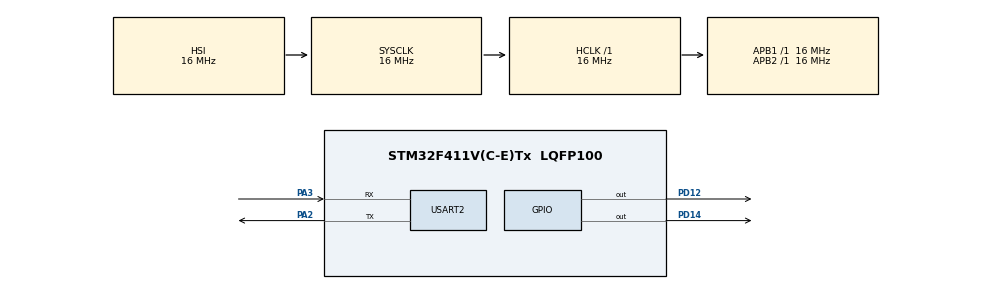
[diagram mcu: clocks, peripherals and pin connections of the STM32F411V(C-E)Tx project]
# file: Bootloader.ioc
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Mcu.Family=STM32F4
Mcu.Name=STM32F411V(C-E)Tx
Mcu.Package=LQFP100
NVIC.PriorityGroup=NVIC_PRIORITYGROUP_4
PA2.Mode=Asynchronous
PA2.Signal=USART2_TX
PA3.Mode=Asynchronous
PA3.Signal=USART2_RX
PD12.Signal=GPIO_Output
PD14.Signal=GPIO_Output
ProjectManager.HeapSize=0x200
ProjectManager.StackSize=0x400
ProjectManager.TargetToolchain=STM32CubeIDE
RCC.AHBFreq_Value=16000000
RCC.APB1Freq_Value=16000000
RCC.APB2Freq_Value=16000000
RCC.CortexFreq_Value=16000000
RCC.HSE_VALUE=25000000
RCC.HSI_VALUE=16000000
RCC.LSE_VALUE=32768
RCC.SYSCLKFreq_VALUE=16000000
RCC.VCOOutputFreq_Value=192000000
USART2.VirtualMode=VM_ASYNC
board=custom

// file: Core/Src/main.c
/* USER CODE BEGIN Header */
/**
  ******************************************************************************
  * @file           : main.c
  * @brief          : Main program body
  ******************************************************************************
  * @attention
  *
  * Copyright (c) 2024 STMicroelectronics.
  * All rights reserved.
  *
  * This software is licensed under terms that can be found in the LICENSE file
  * in the root directory of this software component.
  * If no LICENSE file comes with this software, it is provided AS-IS.
  *
  ******************************************************************************
  */
/* USER CODE END Header */
#include "main.h"

/* USER CODE BEGIN Includes */
#include "stdio.h"
#include <string.h>
#include <stdbool.h>
/* USER CODE END Includes */

/* USER CODE BEGIN PD */
#define Major					0				// Major version Number
#define Minor					2				// Minor version Number

#define MAX_BLOCK_SIZE          (1024)			//1KB
#define ETX_APP_START_ADDRESS   0x08020000
/* USER CODE END PD */

UART_HandleTypeDef huart2;

/* USER CODE BEGIN PV */
const uint8_t BL_Version[2] = {Major, Minor};

uint16_t application_size = 0;
uint16_t application_write_idx = 0;
/* USER CODE END PV */

void SystemClock_Config(void);
static void MX_GPIO_Init(void);
static void MX_USART2_UART_Init(void);
/* USER CODE BEGIN PFP */
static int UART_Write_Loop(void);
static HAL_StatusTypeDef write_data_to_flash_app(uint8_t *data, uint16_t data_len, bool is_first_block);
static void Firmware_Update(void);
static void goto_application(void);
/* USER CODE END PFP */

/* USER CODE BEGIN 0 */
int _write(int file, char *ptr, int len)
{
	int i = 0;
	for(i = 0; i < len; i++)
	{
		ITM_SendChar(*ptr++);

	}
	return len;
}
/* USER CODE END 0 */

int main(void)
{

  /* MCU Configuration--------------------------------------------------------*/

  /* Reset of all peripherals, Initializes the Flash interface and the Systick. */
  HAL_Init();

  /* Configure the system clock */
  SystemClock_Config();

  /* Initialize all configured peripherals */
  MX_GPIO_Init();
  MX_USART2_UART_Init();
  /* USER CODE BEGIN 2 */
  printf("Bootloader v%d:%d Started!!!\n", BL_Version[0], BL_Version[1]);
  HAL_GPIO_WritePin(GPIOD, GPIO_PIN_12, GPIO_PIN_SET);
  HAL_Delay(2000);

  Firmware_Update();

  // Jump to application
  goto_application();
  /* USER CODE END 2 */

  /* Infinite loop */
  while (1)
  {

  }
}

void SystemClock_Config(void)
{
  RCC_OscInitTypeDef RCC_OscInitStruct = {0};
  RCC_ClkInitTypeDef RCC_ClkInitStruct = {0};

  /** Configure the main internal regulator output voltage
  */
  __HAL_RCC_PWR_CLK_ENABLE();
  __HAL_PWR_VOLTAGESCALING_CONFIG(PWR_REGULATOR_VOLTAGE_SCALE1);

  /** Initializes the RCC Oscillators according to the specified parameters
  * in the RCC_OscInitTypeDef structure.
  */
  RCC_OscInitStruct.OscillatorType = RCC_OSCILLATORTYPE_HSI;
  RCC_OscInitStruct.HSIState = RCC_HSI_ON;
  RCC_OscInitStruct.HSICalibrationValue = RCC_HSICALIBRATION_DEFAULT;
  RCC_OscInitStruct.PLL.PLLState = RCC_PLL_NONE;
  if (HAL_RCC_OscConfig(&RCC_OscInitStruct) != HAL_OK)
  {
    Error_Handler();
  }

  /** Initializes the CPU, AHB and APB buses clocks
  */
  RCC_ClkInitStruct.ClockType = RCC_CLOCKTYPE_HCLK|RCC_CLOCKTYPE_SYSCLK
                              |RCC_CLOCKTYPE_PCLK1|RCC_CLOCKTYPE_PCLK2;
  RCC_ClkInitStruct.SYSCLKSource = RCC_SYSCLKSOURCE_HSI;
  RCC_ClkInitStruct.AHBCLKDivider = RCC_SYSCLK_DIV1;
  RCC_ClkInitStruct.APB1CLKDivider = RCC_HCLK_DIV1;
  RCC_ClkInitStruct.APB2CLKDivider = RCC_HCLK_DIV1;

  if (HAL_RCC_ClockConfig(&RCC_ClkInitStruct, FLASH_LATENCY_0) != HAL_OK)
  {
    Error_Handler();
  }
}

static void MX_USART2_UART_Init(void)
{

  huart2.Instance = USART2;
  huart2.Init.BaudRate = 115200;
  huart2.Init.WordLength = UART_WORDLENGTH_8B;
  huart2.Init.StopBits = UART_STOPBITS_1;
  huart2.Init.Parity = UART_PARITY_NONE;
  huart2.Init.Mode = UART_MODE_TX_RX;
  huart2.Init.HwFlowCtl = UART_HWCONTROL_NONE;
  huart2.Init.OverSampling = UART_OVERSAMPLING_16;
  if (HAL_UART_Init(&huart2) != HAL_OK)
  {
    Error_Handler();
  }

}

static void MX_GPIO_Init(void)
{
  GPIO_InitTypeDef GPIO_InitStruct = {0};

  /* GPIO Ports Clock Enable */
  __HAL_RCC_GPIOA_CLK_ENABLE();
  __HAL_RCC_GPIOD_CLK_ENABLE();

  /*Configure GPIO pin Output Level */
  HAL_GPIO_WritePin(GPIOD, GPIO_PIN_12|GPIO_PIN_14, GPIO_PIN_RESET);

  /*Configure GPIO pins : PD12 PD14 */
  GPIO_InitStruct.Pin = GPIO_PIN_12|GPIO_PIN_14;
  GPIO_InitStruct.Mode = GPIO_MODE_OUTPUT_PP;
  GPIO_InitStruct.Pull = GPIO_NOPULL;
  GPIO_InitStruct.Speed = GPIO_SPEED_FREQ_LOW;
  HAL_GPIO_Init(GPIOD, &GPIO_InitStruct);

}

/* USER CODE BEGIN 4 */
static int UART_Write_Loop(void)
{
	HAL_StatusTypeDef ex;

	char tx = 'g';
	char rx = '0';
	int ret = 0;
	int count = 0;

	while(1)
	{
		HAL_GPIO_TogglePin(GPIOD, GPIO_PIN_12);
		HAL_UART_Transmit(&huart2, (uint8_t *)&tx, 1, HAL_MAX_DELAY);

		ex = HAL_UART_Receive(&huart2, (uint8_t *)&rx, 1, 10);

		if((ex == HAL_OK) && (rx == 'r'))
		{
			//received data
			printf("Firmware Update Started\r\n");
			ret = 1;
			break;
		}

		if(count == 100)
		{
			//received nothing
			printf("No Data Received for Firmware Update\r\n");
			break;
		}
		count++;
		HAL_Delay(20);              //20ms delay
	}

	return ret;
}
//----------------------------------------------------------------------------------------------------
/**
  * @brief Write data to the Application's actual flash location.
  * @param data data to be written
  * @param data_len data length
  * @is_first_block true - if this is first block, false - not first block
  * @retval HAL_StatusTypeDef
  */
static HAL_StatusTypeDef write_data_to_flash_app(uint8_t *data, uint16_t data_len, bool is_first_block)
{
	HAL_StatusTypeDef ret;

	do
	{
		ret = HAL_FLASH_Unlock();
		if(ret != HAL_OK)
		{
			break;
		}

		//No need to erase every time. Erase only the first time.
//		if(is_first_block)
//		{
//			//Erase the Flash
//			FLASH_EraseInitTypeDef EraseInitStruct;
//			uint32_t SectorError;
//
//			EraseInitStruct.TypeErase   	  	= FLASH_TYPEERASE_SECTORS;
//			EraseInitStruct.Sector		   		= ETX_APP_START_ADDRESS;
//			EraseInitStruct.NbSectors       	= 2;                     //2 Sectors
//
//			printf("Erasing the Flash memory...\r\n");
//			ret = HAL_FLASHEx_Erase(&EraseInitStruct, &SectorError);
//			if(ret != HAL_OK)
//			{
//				break;
//			}
//			application_write_idx = 0;
//		}

		for(int i = 0; i < data_len/2; i++)
		{
			uint16_t halfword_data = data[i * 2] | (data[i * 2 + 1] << 8);

			ret = HAL_FLASH_Program(FLASH_TYPEPROGRAM_HALFWORD, (ETX_APP_START_ADDRESS + application_write_idx), halfword_data);
			if(ret == HAL_OK)
			{
				//update the data count
				application_write_idx += 2;
			}
			else
			{
				printf("Flash Write Error...HALT!!!\r\n");
				break;
			}
		}

		if(ret != HAL_OK)
		{
			break;
		}

		ret = HAL_FLASH_Lock();
		if(ret != HAL_OK)
		{
			break;
		}
	}
	while(false);

	return ret;
}
//----------------------------------------------------------------------------------------------------
/**
  * @brief Check for Firmware Update and update the Firmware
  * @retval None
  */
static void Firmware_Update(void)
{
	HAL_StatusTypeDef ex = HAL_OK;

	uint8_t xx,yy;
	uint8_t x = 'x';
	uint8_t y = 'y';
	uint16_t current_app_size = 0;
	uint16_t i = 0;

	uint8_t block[MAX_BLOCK_SIZE] = { 0 };

	do
	{
		if(UART_Write_Loop() != 0)
		{
			//Sender is ready. Receive the Firmware Size

			// Ask yy
			HAL_UART_Transmit(&huart2, &y, 1, HAL_MAX_DELAY);

			ex = HAL_UART_Receive(&huart2, &yy, 1, 5000);
			if(ex != HAL_OK)
			{
				printf("Get application Size error (yy)...HALT!!!\r\n");
				break;
			}

			// Ask xx
			HAL_UART_Transmit(&huart2, &x, 1, HAL_MAX_DELAY);

			ex = HAL_UART_Receive(&huart2, &xx, 1, 5000);
			if(ex != HAL_OK)
			{
				printf("Get application Size error(XX)...HALT!!!\r\n");
				break;
			}

			application_size = yy | (xx << 8);
			printf("Application Size = %d bytes\r\n", application_size);

			while(1)
			{
				if((i == MAX_BLOCK_SIZE) || (current_app_size >= application_size))
				{
					printf("Received Block[%d]\r\n", current_app_size/MAX_BLOCK_SIZE);

					//write to flash
					ex = write_data_to_flash_app(block, MAX_BLOCK_SIZE, (current_app_size <= MAX_BLOCK_SIZE));
					if(ex != HAL_OK)
					{
						break;
					}

					//clear the memory
					memset(block, 0,MAX_BLOCK_SIZE);
					i = 0;
				}

			if(current_app_size >= application_size)
			{
				//received all data. exit
				ex = HAL_OK;
				break;
			}

			// Ask yy
			HAL_UART_Transmit(&huart2, &y, 1, HAL_MAX_DELAY);

			ex = HAL_UART_Receive(&huart2, &yy, 1, 5000);
			if(ex != HAL_OK)
			{
				printf("Get application data[index:%d] error (yy)...HALT!!!\r\n", i);
				break;
			}

			// Ask xx
			HAL_UART_Transmit(&huart2, &x, 1, HAL_MAX_DELAY);

			ex = HAL_UART_Receive(&huart2, &xx, 1, 5000);
			if(ex != HAL_OK)
			{
				printf("Get application data[index:%d] error(XX)...HALT!!!\r\n", i);
				break;
			}

			//--- Save xxyy in block[i]
			block[i++] = yy;
			block[i++] = xx;
			current_app_size += 2;
			}
		}
	}
	while(false);

	if(ex != HAL_OK)
	{
		while(1);
	}
}
//----------------------------------------------------------------------------------------------------
static void goto_application(void)
{
	printf("Gonna Jump to application\n");

	void(*app_reset_handler) (void) = (void*) (*(volatile uint32_t*)(ETX_APP_START_ADDRESS + 4));

	if(app_reset_handler == (void*)0xFFFFFFFF)
	{
		printf("Invalid Application... HALT!!!\r\n");
		while(1);
	}

	__set_MSP(*(volatile uint32_t*) ETX_APP_START_ADDRESS);

	HAL_GPIO_WritePin(GPIOD, GPIO_PIN_12, GPIO_PIN_RESET);

	app_reset_handler();
}
/* USER CODE END 4 */

void Error_Handler(void)
{
  __disable_irq();
  while (1)
  {
  }
}
